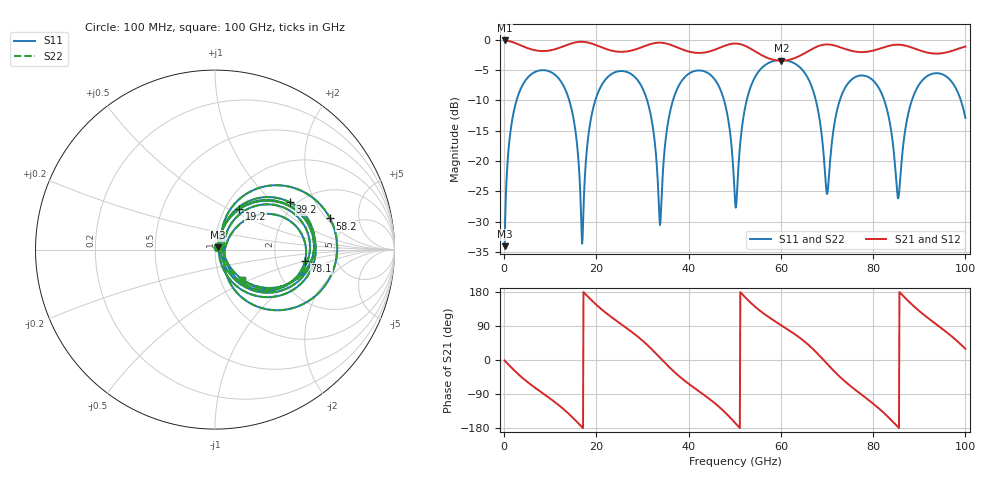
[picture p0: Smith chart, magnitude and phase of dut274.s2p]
! Touchstone file exported from HFSS 2026.1.0
!  File:  C:/ffzhzh/LocalFiles/Ansys_Project_Files/temp_train_TSV_RDL_274_1783675573_29156.aedt
!  Generated:  05:47:09 PM Jul 10, 2026
!  Design:  TSV_RDL
!  Project:  temp_train_TSV_RDL_274_1783675573_29156
! Variables:
!  h_bsmrdl = 3.15um
!  h_ox = 20um
!  h_rdl = 5um
!  h_sub = 98.29um
!  h_tmrdl = 3.91um
!  h_tsv = 98.29um
!  h_via = 3um
!  l_bsmrdl = 149.28um
!  l_sub = 3368.53um
!  l_tmrdl = 592.05um
!  m_sub = 200um
!  pitch = 58.37um
!  r_tsv = 5.18um
!  s_tmrdl = 10um
!  w_bsmrdl = 25.58um
!  w_sub = 500um
!  w_tmrdl = 25.25um
!  x_tsv_center1 = 604.675um
!  x_tsv_center2 = 779.535um
!  x_tsv_center3 = 1396.835um
!  x_tsv_center4 = 1571.695um
!  x_tsv_center5 = 2188.995um
!  x_tsv_center6 = 2363.855um
# GHz S MA R 50.000000
! Terminal data exported
! Port[1] = TM_RDL1_1_T1
! Port[2] = TM_RDL5_1_T1
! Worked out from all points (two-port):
!   1000 points, 100 MHz to 100 GHz, reference 50 ohm
!   highest |S21| = -0.13 dB at 100 MHz (marker M1); lowest = -3.5 dB at 60.1 GHz (marker M2)
!   |S21| within 3 dB of the highest: start of sweep to 57.53 GHz; 62.65 GHz to end of sweep
!   lowest |S11| = -34.0 dB at 100 MHz (marker M3), VSWR 1.04, Z = 51.5 + j1.4 ohm
!   |S11| at or under -10 dB: 14.12 GHz to 19.76 GHz (5.645 GHz wide, 33.3 % of centre); 31 GHz to 36.59 GHz (5.592 GHz wide, 16.5 % of centre); 82.42 GHz to 88.39 GHz (5.969 GHz wide, 6.99 % of centre) (the widest 3 of 7)
!   |S22| runs from -34.0 to -3.3 dB; largest |S21 - S12| = 1.3e-11
!   S11 on the Smith chart (normalised r, x): 100 MHz: 1.03, +0.03; 19.2 GHz: 1.16, +0.56; 39.2 GHz: 1.85, +1.29; 58.2 GHz: 3.52, +2.18; 78.1 GHz: 2.95, -0.50; 100 GHz: 1.26, -0.45
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0.1  0.01993 43.1  0.9857 -1.3  0.9857 -1.3  0.01993 43.1
! Gamma 0 0 0 0
! Port Impedance 50 0 50 0
2.3  0.2783 57.3  0.9415 -28.8  0.9415 -28.8  0.2783 57.3
7.8  0.5591 5.5  0.8077 -82.8  0.8077 -82.8  0.5591 5.6
14.1  0.3179 -51.4  0.9182 -143.1  0.9182 -143.1  0.3178 -51.4
16.8  0.02552 -32.8  0.9619 -175.9  0.9619 -175.9  0.02573 -32.4
19.2  0.2629 59.5  0.9234 154.7  0.9234 154.7  0.2629 59.4
28.8  0.4713 -25.7  0.8396 63.4  0.8396 63.4  0.4713 -25.7
33.4  0.05825 -49.5  0.9446 11.0  0.9446 11.0  0.05854 -48.9
39.2  0.4931 32.3  0.8165 -55.3  0.8165 -55.3  0.4932 32.2
46.7  0.4025 -31.6  0.857 -124.7  0.857 -124.7  0.4025 -31.6
50.1  0.04469 -10.2  0.93 -166.3  0.93 -166.3  0.04429 -10.5
53  0.3635 60.0  0.8614 156.4  0.8614 156.4  0.3635 60.1
58.2  0.664 15.1  0.6852 106.4  0.6852 106.4  0.664 15.2
60.1  0.681 1.3  0.6703 91.5  0.6703 91.5  0.681 1.3
66.7  0.4089 -52.2  0.8353 31.8  0.8353 31.8  0.409 -52.1
70  0.05356 -11.6  0.9141 -9.8  0.9141 -9.8  0.05414 -11.6
72.9  0.3279 37.0  0.8654 -45.7  0.8654 -45.7  0.3279 37.0
78.1  0.5054 -7.1  0.7914 -97.1  0.7914 -97.1  0.5054 -7.1
83.4  0.2286 -51.8  0.8893 -152.1  0.8893 -152.1  0.2286 -51.7
85.5  0.05011 11.5  0.9098 -178.2  0.9098 -178.2  0.05045 11.5
90.9  0.4728 26.9  0.7983 120.2  0.7983 120.2  0.4728 26.9
100  0.2273 -48.4  0.8786 29.3  0.8786 29.3  0.2272 -48.4
